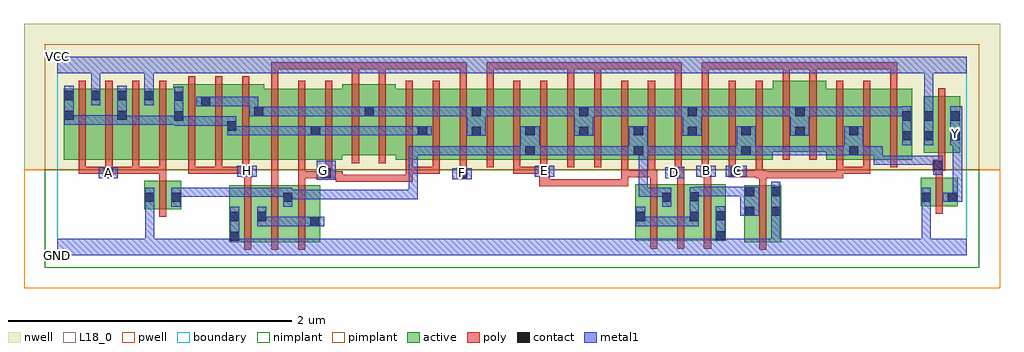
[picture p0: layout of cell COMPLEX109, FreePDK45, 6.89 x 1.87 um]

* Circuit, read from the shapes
.subckt COMPLEX109 A B C D E F G GND H VCC Y
M1 n1 A GND VSUBS nfet w=0.2u l=0.05u
M2 n2 H GND VSUBS nfet w=0.4u l=0.05u
M3 n1 F n2 VSUBS nfet w=0.4u l=0.05u
M4 n2 G n1 VSUBS nfet w=0.4u l=0.05u
M5 n1 E n3 VSUBS nfet w=0.4u l=0.05u
M6 n3 D n1 VSUBS nfet w=0.4u l=0.05u
M7 GND B n3 VSUBS nfet w=0.4u l=0.05u
M8 GND C n3 VSUBS nfet w=0.4u l=0.05u
M9 Y n1 GND VSUBS nfet w=0.2u l=0.05u
M10 VCC A n4 n5 pfet w=0.5u l=0.05u m=4
M11 n6 H n4 n5 pfet w=0.532u l=0.05u m=3
M12 n7 F n6 n5 pfet w=0.5u l=0.05u
M13 n4 G n7 n5 pfet w=0.5u l=0.05u
M14 n8 G n4 n5 pfet w=0.5u l=0.05u
M15 n6 F n8 n5 pfet w=0.5u l=0.05u
M16 n9 F n6 n5 pfet w=0.5u l=0.05u
M17 n4 G n9 n5 pfet w=0.5u l=0.05u
M18 n10 G n4 n5 pfet w=0.5u l=0.05u
M19 n6 F n10 n5 pfet w=0.5u l=0.05u
M20 n11 D n6 n5 pfet w=0.5u l=0.05u
M21 n1 E n11 n5 pfet w=0.5u l=0.05u
M22 n12 E n1 n5 pfet w=0.5u l=0.05u
M23 n6 D n12 n5 pfet w=0.5u l=0.05u
M24 n13 D n6 n5 pfet w=0.5u l=0.05u
M25 n1 E n13 n5 pfet w=0.5u l=0.05u
M26 n14 E n1 n5 pfet w=0.5u l=0.05u
M27 n6 D n14 n5 pfet w=0.5u l=0.05u
M28 n15 B n6 n5 pfet w=0.5u l=0.05u
M29 n1 C n15 n5 pfet w=0.5u l=0.05u
M30 n16 C n1 n5 pfet w=0.5u l=0.05u
M31 n6 B n16 n5 pfet w=0.5u l=0.05u
M32 n17 B n6 n5 pfet w=0.5u l=0.05u
M33 n1 C n17 n5 pfet w=0.5u l=0.05u
M34 n18 C n1 n5 pfet w=0.5u l=0.05u
M35 n6 B n18 n5 pfet w=0.5u l=0.05u
M36 Y n1 VCC n5 pfet w=0.4u l=0.05u
.ends

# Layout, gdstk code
import gdstk
lib = gdstk.Library(unit=1e-6, precision=1e-09)
def R(c, l, rs):  # rectangles x0, y0, x1, y1
    for r in rs: c.add(gdstk.rectangle(r[:2], r[2:], *l))
def A(c, l, x, y, w, h, nx, ny, dx, dy):  # array of equal rectangles
    R(c, l, [(x+i*dx, y+j*dy, x+i*dx+w, y+j*dy+h) for i in range(nx) for j in range(ny)])
active = (1, 0)
pwell = (2, 0)
nwell = (3, 0)
nimplant = (4, 0)
pimplant = (5, 0)
poly = (9, 0)
contact = (10, 0)
metal1 = (11, 0)
L18_0 = (18, 0)
boundary = (235, 0)

complex109 = lib.new_cell('COMPLEX109')
A(complex109, active, 2.39, 0.675, 0.225, 0.5, 4, 1, 0.38, 0)
A(complex109, active, 2.54, 0.675, 0.23, 0.5, 4, 1, 0.38, 0)
A(complex109, active, 3.91, 0.675, 0.23, 0.5, 3, 1, 0.38, 0)
A(complex109, active, 4.065, 0.675, 0.225, 0.5, 3, 1, 0.38, 0)
A(complex109, active, 4.065, 0.675, 0.075, 0.395, 3, 1, 0.76, 0)
R(complex109, active, [(1.215,0.092,1.29,0.492), (1.215,0.092,1.48,0.492), (1.405,0.092,1.665,0.492), (1.59,0.092,1.855,0.492), (4.85,0.092,5.11,0.492), (4.08,0.1,4.34,0.5), (4.265,0.1,4.535,0.5), (4.46,0.1,4.72,0.5), (4.645,0.1,4.72,0.5), (5.035,0.132,5.11,0.492), (1.405,0.147,1.48,0.492), (1.59,0.147,1.665,0.492), (1.78,0.147,1.855,0.492), (4.08,0.147,4.155,0.5), (4.265,0.147,4.34,0.492), (4.46,0.147,4.535,0.492), (4.85,0.147,4.925,0.492), (0.615,0.325,0.875,0.525), (0.615,0.347,0.69,0.525), (0.8,0.347,0.875,0.525), (6.097,0.347,6.172,0.547), (6.097,0.347,6.357,0.547), (6.282,0.347,6.357,0.547), (0.045,0.675,0.31,1.175), (0.045,0.675,0.12,1.167), (0.235,0.675,0.31,1.175), (0.235,0.675,0.495,1.175), (0.42,0.675,0.685,1.175), (0.42,0.675,0.495,1.167), (0.61,0.675,0.895,1.175), (0.61,0.675,0.685,1.175), (0.82,0.675,1.085,1.207), (1.01,0.675,1.27,1.207), (1.01,0.675,1.085,1.2), (1.195,0.675,1.27,1.07), (1.195,0.675,1.46,1.207), (1.385,0.675,1.63,1.175), (1.63,0.675,1.86,1.175), (1.785,0.675,2.01,1.175), (1.785,0.675,1.86,1.07), (2.54,0.675,2.615,1.07), (2.92,0.675,2.995,1.157), (3.3,0.675,3.375,1.07), (3.68,0.675,3.755,1.157), (5.43,0.675,5.66,1.175), (5.585,0.675,5.81,1.175), (5.81,0.675,6.035,1.175), (5.96,0.675,6.035,1.157), (2.01,0.705,2.24,1.205), (2.165,0.705,2.39,1.205), (2.165,0.705,2.24,1.157), (6.115,0.722,6.375,1.122), (6.115,0.722,6.19,1.122), (6.3,0.722,6.375,1.122), (5.05,0.73,5.28,1.23), (5.205,0.73,5.43,1.23), (5.205,0.73,5.28,1.157), (4.445,0.762,4.52,1.167), (1.385,0.775,1.46,1.2), (0.82,0.795,0.895,1.2)])
R(complex109, pwell, [(-0.235,-0.235,6.655,0.602)])
R(complex109, nwell, [(-0.235,0.602,6.655,1.635)])
R(complex109, nimplant, [(-0.09,-0.09,6.51,0.602)])
R(complex109, pimplant, [(-0.09,0.602,6.51,1.49)])
A(complex109, poly, 1.32, 0.037, 0.05, 0.51, 3, 1, 0.19, 0)
A(complex109, poly, 4.185, 0.045, 0.05, 0.51, 3, 1, 0.19, 0)
A(complex109, poly, 4.185, 0.505, 0.05, 0.095, 3, 1, 0.19, 0)
A(complex109, poly, 0.15, 0.575, 0.05, 0.095, 4, 1, 0.19, 0)
A(complex109, poly, 0.925, 0.575, 0.05, 0.095, 3, 1, 0.19, 0)
A(complex109, poly, 4.36, 0.575, 0.05, 0.095, 3, 1, 0.19, 0)
A(complex109, poly, 0.15, 0.62, 0.05, 0.61, 4, 1, 0.19, 0)
A(complex109, poly, 0.925, 0.62, 0.05, 0.642, 3, 1, 0.19, 0)
A(complex109, poly, 1.51, 0.62, 0.05, 0.61, 3, 1, 0.19, 0)
A(complex109, poly, 2.46, 0.62, 0.05, 0.61, 14, 1, 0.19, 0)
A(complex109, poly, 5.5, 0.62, 0.05, 0.61, 3, 1, 0.19, 0)
A(complex109, poly, 4.93, 1.312, 0.05, 0.05, 3, 1, 0.19, 0)
R(complex109, poly, [(4.955,0.037,5.005,0.547), (0.72,0.27,0.77,0.58), (6.202,0.292,6.252,0.602), (3.402,0.487,3.477,0.625), (3.427,0.487,3.585,0.537), (3.535,0.487,3.585,0.537), (3.535,0.487,3.61,0.537), (3.56,0.487,3.61,0.537), (3.56,0.487,3.717,0.537), (3.667,0.487,3.717,0.537), (3.667,0.487,3.897,0.537), (3.847,0.487,3.897,0.537), (3.847,0.487,3.897,0.537), (3.847,0.487,3.897,0.537), (3.847,0.487,4.03,0.537), (3.98,0.487,4.03,0.6), (1.32,0.497,1.37,0.6), (1.51,0.497,1.56,0.625), (1.7,0.497,1.75,0.592), (4.955,0.497,5.005,0.592), (1.965,0.517,2.187,0.567), (1.965,0.517,2.015,0.592), (2.137,0.517,2.187,0.567), (2.137,0.517,2.377,0.567), (2.327,0.517,2.377,0.567), (2.327,0.517,2.377,0.567), (2.327,0.517,2.377,0.567), (2.327,0.517,2.51,0.567), (2.46,0.517,2.51,0.567), (2.46,0.517,2.51,0.567), (2.46,0.517,2.51,0.625), (0.72,0.53,0.77,0.625), (1.7,0.542,1.75,0.592), (1.7,0.542,1.882,0.592), (1.7,0.542,1.75,0.67), (1.832,0.542,1.882,0.592), (1.832,0.542,1.91,0.592), (1.86,0.542,1.94,0.617), (1.89,0.542,2.015,0.592), (2.82,0.542,2.895,0.617), (4.93,0.542,5.005,0.6), (4.955,0.542,5.005,0.592), (4.955,0.542,5.005,0.592), (4.955,0.542,5.17,0.592), (5.12,0.542,5.17,0.592), (5.12,0.542,5.17,0.592), (5.12,0.542,5.17,0.592), (5.12,0.542,5.302,0.592), (5.252,0.542,5.302,0.592), (5.252,0.542,5.55,0.592), (5.5,0.542,5.55,0.592), (5.5,0.542,5.55,0.592), (5.5,0.542,5.55,0.625), (0.322,0.55,0.397,0.625), (1.302,0.55,1.377,0.625), (3.98,0.55,4.03,0.67), (3.98,0.55,4.212,0.6), (4.162,0.55,4.212,0.6), (4.162,0.55,4.212,0.6), (4.162,0.55,4.235,0.6), (4.17,0.55,4.22,0.67), (4.322,0.55,4.425,0.625), (4.542,0.55,4.617,0.625), (4.74,0.55,4.825,0.625), (4.775,0.55,4.825,0.6), (4.775,0.55,4.825,0.6), (4.775,0.55,4.98,0.6), (4.93,0.55,4.98,0.67), (6.202,0.552,6.252,0.647), (1.89,0.567,1.94,0.67), (2.84,0.567,2.89,0.67), (0.15,0.575,0.2,0.625), (0.15,0.575,0.2,0.625), (0.15,0.575,0.2,0.625), (0.15,0.575,0.372,0.625), (0.347,0.575,0.397,0.625), (0.347,0.575,0.397,0.625), (0.347,0.575,0.58,0.625), (0.53,0.575,0.58,0.625), (0.53,0.575,0.58,0.625), (0.53,0.575,0.58,0.625), (0.53,0.575,0.77,0.625), (0.72,0.575,0.77,0.625), (0.925,0.575,0.975,0.625), (0.925,0.575,0.975,0.625), (0.925,0.575,0.975,0.625), (0.925,0.575,1.165,0.625), (1.115,0.575,1.165,0.625), (1.115,0.575,1.165,0.625), (1.115,0.575,1.165,0.625), (1.115,0.575,1.352,0.625), (1.51,0.575,1.56,0.67), (1.51,0.575,1.56,0.625), (2.46,0.575,2.51,0.67), (2.46,0.575,2.69,0.625), (2.64,0.575,2.69,0.625), (2.64,0.575,2.69,0.625), (2.64,0.575,2.7,0.625), (2.65,0.575,2.7,0.67), (3.22,0.575,3.27,0.67), (3.22,0.575,3.27,0.625), (3.22,0.575,3.452,0.625), (3.402,0.575,3.452,0.625), (3.402,0.575,3.452,0.625), (3.41,0.575,3.46,0.67), (5.5,0.575,5.55,0.67), (5.5,0.575,5.74,0.625), (5.69,0.575,5.74,0.67), (5.69,0.575,5.74,0.625), (5.69,0.575,5.74,0.625), (5.69,0.575,5.74,0.625), (6.18,0.597,6.27,0.672), (6.22,0.622,6.27,0.717), (2.08,0.65,2.13,1.26), (2.27,0.65,2.32,1.26), (6.22,0.667,6.27,1.177), (5.12,0.675,5.17,1.285), (5.31,0.675,5.36,1.285), (1.51,1.18,1.56,1.362), (2.84,1.18,2.89,1.362), (3.03,1.18,3.08,1.362), (3.6,1.18,3.65,1.362), (3.79,1.18,3.84,1.362), (4.36,1.18,4.41,1.362), (4.55,1.18,4.6,1.362), (5.88,1.18,5.93,1.362), (2.08,1.21,2.13,1.362), (2.27,1.21,2.32,1.362), (5.12,1.235,5.17,1.362), (5.31,1.235,5.36,1.362), (1.51,1.312,1.56,1.362), (1.51,1.312,1.692,1.362), (1.642,1.312,1.692,1.362), (1.642,1.312,1.692,1.362), (1.642,1.312,1.692,1.362), (1.642,1.312,1.882,1.362), (1.832,1.312,1.882,1.362), (1.832,1.312,1.882,1.362), (1.832,1.312,1.882,1.362), (1.832,1.312,2.13,1.362), (2.08,1.312,2.13,1.362), (2.08,1.312,2.13,1.362), (2.08,1.312,2.13,1.362), (2.08,1.312,2.32,1.362), (2.27,1.312,2.32,1.362), (2.27,1.312,2.32,1.362), (2.27,1.312,2.32,1.362), (2.27,1.312,2.51,1.362), (2.46,1.312,2.51,1.362), (2.46,1.312,2.51,1.362), (2.46,1.312,2.51,1.362), (2.46,1.312,2.642,1.362), (2.592,1.312,2.642,1.362), (2.592,1.312,2.642,1.362), (2.592,1.312,2.642,1.362), (2.592,1.312,2.89,1.362), (2.84,1.312,2.89,1.362), (2.84,1.312,2.89,1.362), (2.84,1.312,2.89,1.362), (3.03,1.312,3.08,1.362), (3.03,1.312,3.212,1.362), (3.162,1.312,3.212,1.362), (3.162,1.312,3.212,1.362), (3.162,1.312,3.212,1.362), (3.162,1.312,3.402,1.362), (3.352,1.312,3.402,1.362), (3.352,1.312,3.402,1.362), (3.352,1.312,3.402,1.362), (3.352,1.312,3.585,1.362), (3.535,1.312,3.585,1.362), (3.535,1.312,3.65,1.362), (3.6,1.312,3.65,1.362), (3.6,1.312,3.765,1.362), (3.715,1.312,3.765,1.362), (3.715,1.312,3.84,1.362), (3.79,1.312,3.84,1.362), (3.79,1.312,4.08,1.362), (4.03,1.312,4.08,1.362), (4.03,1.312,4.08,1.362), (4.03,1.312,4.08,1.362), (4.03,1.312,4.24,1.362), (4.19,1.312,4.24,1.362), (4.19,1.312,4.24,1.362), (4.19,1.312,4.24,1.362), (4.19,1.312,4.41,1.362), (4.36,1.312,4.41,1.362), (4.36,1.312,4.41,1.362), (4.36,1.312,4.41,1.362), (4.55,1.312,4.6,1.362), (4.55,1.312,4.6,1.362), (4.55,1.312,4.6,1.362), (4.55,1.312,4.847,1.362), (4.797,1.312,4.847,1.362), (4.797,1.312,4.847,1.362), (4.797,1.312,4.847,1.362), (4.797,1.312,4.98,1.362), (4.93,1.312,4.98,1.362), (4.93,1.312,4.98,1.362), (4.93,1.312,5.17,1.362), (5.12,1.312,5.36,1.362), (5.31,1.312,5.36,1.362), (5.31,1.312,5.36,1.362), (5.31,1.312,5.492,1.362), (5.442,1.312,5.492,1.362), (5.442,1.312,5.492,1.362), (5.442,1.312,5.492,1.362), (5.442,1.312,5.797,1.362), (5.747,1.312,5.797,1.362), (5.747,1.312,5.797,1.362), (5.747,1.312,5.797,1.362), (5.747,1.312,5.93,1.362), (5.88,1.312,5.93,1.362), (5.88,1.312,5.93,1.362), (5.88,1.312,5.93,1.362)])
A(complex109, contact, 4.07, 0.705, 0.065, 0.065, 3, 2, 0.76, 0.14)
R(complex109, contact, [(1.22,0.1,1.285,0.165), (4.65,0.105,4.715,0.17), (1.785,0.205,1.85,0.27), (1.22,0.24,1.285,0.305), (1.41,0.24,1.475,0.305), (4.085,0.24,4.15,0.305), (4.465,0.24,4.53,0.305), (4.65,0.245,4.715,0.31), (4.855,0.277,4.92,0.342), (5.04,0.277,5.105,0.342), (0.62,0.377,0.685,0.442), (0.805,0.377,0.87,0.442), (1.595,0.377,1.66,0.442), (4.27,0.377,4.335,0.442), (6.102,0.377,6.167,0.442), (6.287,0.377,6.352,0.442), (4.465,0.38,4.53,0.445), (4.855,0.417,4.92,0.482), (5.04,0.417,5.105,0.482), (1.865,0.547,1.93,0.612), (2.825,0.547,2.89,0.612), (0.327,0.555,0.392,0.62), (1.307,0.555,1.372,0.62), (3.407,0.555,3.472,0.62), (4.327,0.555,4.392,0.62), (4.547,0.555,4.612,0.62), (4.755,0.555,4.82,0.62), (6.185,0.602,6.25,0.667), (3.305,0.705,3.37,0.77), (5.965,0.81,6.03,0.875), (6.12,0.81,6.185,0.875), (6.305,0.81,6.37,0.875), (2.925,0.842,2.99,0.907), (3.685,0.842,3.75,0.907), (4.45,0.842,4.515,0.907), (5.21,0.842,5.275,0.907), (1.79,0.845,1.855,0.91), (2.545,0.845,2.61,0.91), (3.305,0.845,3.37,0.91), (1.2,0.88,1.265,0.945), (0.825,0.95,0.89,1.015), (5.965,0.95,6.03,1.015), (6.12,0.95,6.185,1.015), (6.305,0.95,6.37,1.015), (0.05,0.955,0.115,1.02), (0.425,0.955,0.49,1.02), (1.39,0.982,1.455,1.047), (2.17,0.982,2.235,1.047), (2.925,0.982,2.99,1.047), (3.685,0.982,3.75,1.047), (4.45,0.982,4.515,1.047), (5.21,0.982,5.275,1.047), (1.015,1.052,1.08,1.117), (0.825,1.09,0.89,1.155), (0.615,1.092,0.68,1.157), (0.05,1.095,0.115,1.16), (0.24,1.095,0.305,1.16), (0.425,1.095,0.49,1.16)])
A(complex109, metal1, 4.035, 0.705, 0.135, 0.205, 3, 1, 0.76, 0)
R(complex109, metal1, [(0,0,6.42,0.115), (0.62,0.05,0.685,0.115), (0.62,0.05,0.685,0.115), (0.62,0.05,0.685,0.115), (0.62,0.05,0.685,0.115), (0.62,0.05,0.685,0.407), (1.22,0.05,1.285,0.13), (4.65,0.05,4.715,0.135), (5.04,0.05,5.105,0.307), (6.102,0.05,6.167,0.115), (6.102,0.05,6.167,0.115), (6.102,0.05,6.167,0.115), (6.102,0.05,6.167,0.115), (6.102,0.05,6.167,0.407), (1.22,0.065,1.285,0.34), (4.65,0.07,4.715,0.345), (1.41,0.205,1.475,0.34), (1.41,0.205,1.615,0.27), (1.55,0.205,1.615,0.27), (1.55,0.205,1.66,0.27), (1.595,0.205,1.66,0.27), (1.595,0.205,1.752,0.27), (1.687,0.205,1.752,0.27), (1.687,0.205,1.815,0.27), (1.75,0.205,1.885,0.27), (4.085,0.205,4.15,0.27), (4.085,0.205,4.15,0.27), (4.085,0.205,4.15,0.34), (4.085,0.205,4.342,0.27), (4.277,0.205,4.342,0.27), (4.277,0.205,4.342,0.27), (4.277,0.205,4.342,0.27), (4.277,0.205,4.53,0.27), (4.465,0.205,4.53,0.48), (5.04,0.242,5.105,0.517), (4.82,0.277,4.955,0.482), (0.62,0.342,0.685,0.477), (0.805,0.342,0.87,0.477), (1.595,0.342,1.66,0.477), (4.27,0.342,4.335,0.477), (6.102,0.342,6.167,0.477), (6.252,0.377,6.387,0.442), (6.322,0.377,6.387,0.84), (6.322,0.377,6.387,0.442), (6.322,0.377,6.387,0.442), (6.322,0.377,6.387,0.442), (6.322,0.377,6.387,0.442), (1.595,0.395,1.752,0.46), (1.687,0.395,1.752,0.46), (1.687,0.395,1.89,0.46), (1.825,0.395,1.89,0.46), (1.825,0.395,1.89,0.46), (1.825,0.395,1.89,0.46), (1.825,0.395,2.062,0.46), (1.997,0.395,2.062,0.46), (1.997,0.395,2.062,0.46), (1.997,0.395,2.062,0.46), (1.997,0.395,2.2,0.46), (2.135,0.395,2.2,0.46), (2.135,0.395,2.2,0.46), (2.135,0.395,2.2,0.46), (2.135,0.395,2.407,0.46), (2.342,0.395,2.407,0.46), (2.342,0.395,2.407,0.46), (2.342,0.395,2.407,0.46), (2.342,0.395,2.545,0.46), (2.48,0.395,2.545,0.46), (2.48,0.395,2.545,0.77), (0.805,0.412,0.87,0.477), (0.805,0.412,0.87,0.477), (0.805,0.412,1.027,0.477), (0.962,0.412,1.027,0.477), (0.962,0.412,1.027,0.477), (0.962,0.412,1.027,0.477), (0.962,0.412,1.282,0.477), (1.217,0.412,1.282,0.477), (1.217,0.412,1.477,0.477), (1.412,0.412,1.477,0.477), (1.412,0.412,1.477,0.477), (1.412,0.412,1.477,0.477), (1.412,0.412,1.615,0.477), (1.55,0.412,1.615,0.477), (1.55,0.412,1.66,0.477), (4.105,0.412,4.17,0.477), (4.105,0.412,4.17,0.477), (4.105,0.412,4.17,0.477), (4.105,0.412,4.17,0.477), (4.105,0.412,4.17,0.477), (4.105,0.412,4.335,0.477), (4.105,0.412,4.17,0.77), (4.465,0.415,4.565,0.48), (4.5,0.415,4.565,0.482), (4.5,0.417,4.702,0.482), (4.637,0.417,4.702,0.482), (4.637,0.417,4.702,0.482), (4.637,0.417,4.702,0.482), (4.637,0.417,4.885,0.482), (1.83,0.532,1.965,0.667), (2.787,0.537,2.927,0.612), (0.292,0.542,0.427,0.62), (4.292,0.542,4.427,0.62), (1.272,0.555,1.407,0.632), (3.372,0.555,3.507,0.632), (4.512,0.555,4.647,0.632), (4.72,0.555,4.867,0.632), (6.185,0.567,6.25,0.702), (5.762,0.637,5.827,0.702), (5.762,0.637,5.827,0.702), (5.762,0.637,6.03,0.702), (5.762,0.637,5.827,0.77), (5.965,0.637,6.03,0.702), (5.965,0.637,6.03,0.702), (5.965,0.637,6.03,0.702), (5.965,0.637,6.03,0.702), (5.965,0.637,6.03,0.702), (5.965,0.637,6.18,0.702), (6.115,0.637,6.18,0.702), (6.115,0.637,6.25,0.702), (2.48,0.705,2.545,0.77), (2.48,0.705,2.545,0.77), (2.48,0.705,2.545,0.77), (2.48,0.705,2.715,0.77), (2.65,0.705,2.715,0.77), (2.65,0.705,2.715,0.77), (2.65,0.705,2.715,0.77), (2.65,0.705,2.715,0.77), (2.65,0.705,2.715,0.77), (2.65,0.705,2.852,0.77), (2.787,0.705,2.852,0.77), (2.787,0.705,2.852,0.77), (2.787,0.705,2.852,0.77), (2.787,0.705,3.162,0.77), (3.097,0.705,3.162,0.77), (3.097,0.705,3.162,0.77), (3.097,0.705,3.162,0.77), (3.097,0.705,3.335,0.77), (3.27,0.705,3.405,0.91), (3.34,0.705,3.405,0.77), (3.34,0.705,3.405,0.77), (3.34,0.705,3.55,0.77), (3.485,0.705,3.55,0.77), (3.485,0.705,3.687,0.77), (3.622,0.705,3.687,0.77), (3.622,0.705,3.687,0.77), (3.622,0.705,3.687,0.77), (3.622,0.705,3.825,0.77), (3.76,0.705,3.825,0.77), (3.76,0.705,3.962,0.77), (3.897,0.705,3.962,0.77), (3.897,0.705,3.962,0.77), (3.897,0.705,3.962,0.77), (3.897,0.705,4.1,0.77), (4.105,0.705,4.17,0.77), (4.105,0.705,4.17,0.77), (4.105,0.705,4.342,0.77), (4.277,0.705,4.342,0.77), (4.277,0.705,4.342,0.77), (4.277,0.705,4.342,0.77), (4.277,0.705,4.565,0.77), (4.5,0.705,4.565,0.77), (4.5,0.705,4.565,0.77), (4.5,0.705,4.565,0.77), (4.5,0.705,4.702,0.77), (4.637,0.705,4.702,0.77), (4.637,0.705,4.702,0.77), (4.637,0.705,4.702,0.77), (4.637,0.705,4.86,0.77), (4.865,0.705,4.93,0.77), (4.865,0.705,4.93,0.77), (4.865,0.705,5.102,0.77), (5.037,0.705,5.102,0.77), (5.037,0.705,5.31,0.77), (5.245,0.705,5.31,0.77), (5.245,0.705,5.31,0.77), (5.245,0.705,5.31,0.77), (5.245,0.705,5.447,0.77), (5.382,0.705,5.447,0.77), (5.382,0.705,5.447,0.77), (5.382,0.705,5.447,0.77), (5.382,0.705,5.62,0.77), (5.555,0.705,5.62,0.77), (5.555,0.705,5.62,0.77), (5.625,0.705,5.827,0.77), (5.965,0.775,6.03,1.05), (6.12,0.775,6.185,1.05), (6.305,0.775,6.387,1.05), (2.89,0.842,3.025,1.047), (3.65,0.842,3.785,1.047), (4.415,0.842,4.55,1.047), (5.175,0.842,5.31,1.047), (1.2,0.845,1.265,0.91), (1.2,0.845,1.265,0.91), (1.2,0.845,1.265,0.98), (1.2,0.845,1.522,0.91), (1.457,0.845,1.522,0.91), (1.457,0.845,1.615,0.91), (1.55,0.845,1.615,0.91), (1.55,0.845,1.677,0.91), (1.612,0.845,1.677,0.91), (1.612,0.845,1.752,0.91), (1.687,0.845,1.752,0.91), (1.687,0.845,1.82,0.91), (1.755,0.845,1.89,0.91), (1.825,0.845,1.89,0.91), (1.825,0.845,1.89,0.91), (1.825,0.845,1.89,0.91), (1.825,0.845,1.89,0.91), (1.825,0.845,2.062,0.91), (1.997,0.845,2.062,0.91), (1.997,0.845,2.062,0.91), (1.997,0.845,2.062,0.91), (1.997,0.845,2.2,0.91), (2.135,0.845,2.2,0.91), (2.135,0.845,2.2,0.91), (2.135,0.845,2.2,0.91), (2.135,0.845,2.407,0.91), (2.342,0.845,2.407,0.91), (2.342,0.845,2.407,0.91), (2.342,0.845,2.407,0.91), (2.342,0.845,2.575,0.91), (2.51,0.845,2.645,0.91), (0.825,0.915,0.89,0.98), (0.825,0.915,0.89,0.98), (0.825,0.915,0.89,1.19), (0.825,0.915,1.115,0.98), (1.05,0.915,1.115,0.98), (1.05,0.915,1.115,0.98), (1.05,0.915,1.115,0.98), (1.05,0.915,1.265,0.98), (0.05,0.92,0.115,1.195), (0.425,0.92,0.49,0.985), (0.425,0.92,0.49,0.985), (0.425,0.92,0.49,1.195), (0.425,0.92,0.732,0.985), (0.667,0.92,0.732,0.985), (0.667,0.92,0.732,0.985), (0.667,0.92,0.732,0.985), (0.667,0.92,0.89,0.985), (0.05,0.922,0.115,0.987), (0.05,0.922,0.115,0.987), (0.05,0.922,0.35,0.987), (0.285,0.922,0.35,0.987), (0.285,0.922,0.35,0.987), (0.285,0.922,0.35,0.987), (0.285,0.922,0.49,0.987), (1.355,0.982,1.42,1.047), (1.355,0.982,1.49,1.047), (1.355,0.982,1.42,1.117), (1.425,0.982,1.615,1.047), (1.55,0.982,1.615,1.047), (1.55,0.982,1.677,1.047), (1.612,0.982,1.677,1.047), (1.612,0.982,1.752,1.047), (1.687,0.982,1.752,1.047), (1.687,0.982,1.89,1.047), (1.825,0.982,1.89,1.047), (1.825,0.982,1.89,1.047), (1.825,0.982,1.89,1.047), (1.825,0.982,2.027,1.047), (1.962,0.982,2.027,1.047), (1.962,0.982,2.027,1.047), (1.962,0.982,2.027,1.047), (1.962,0.982,2.2,1.047), (2.135,0.982,2.27,1.047), (2.205,0.982,2.27,1.047), (2.205,0.982,2.27,1.047), (2.205,0.982,2.407,1.047), (2.342,0.982,2.407,1.047), (2.342,0.982,2.407,1.047), (2.342,0.982,2.407,1.047), (2.342,0.982,2.545,1.047), (2.48,0.982,2.545,1.047), (2.48,0.982,2.545,1.047), (2.48,0.982,2.545,1.047), (2.48,0.982,2.682,1.047), (2.617,0.982,2.682,1.047), (2.617,0.982,2.682,1.047), (2.617,0.982,2.682,1.047), (2.617,0.982,2.955,1.047), (2.96,0.982,3.025,1.047), (2.96,0.982,3.025,1.047), (2.96,0.982,3.162,1.047), (3.097,0.982,3.162,1.047), (3.097,0.982,3.162,1.047), (3.097,0.982,3.162,1.047), (3.097,0.982,3.3,1.047), (3.235,0.982,3.3,1.047), (3.235,0.982,3.3,1.047), (3.235,0.982,3.3,1.047), (3.235,0.982,3.542,1.047), (3.477,0.982,3.542,1.047), (3.477,0.982,3.687,1.047), (3.622,0.982,3.687,1.047), (3.622,0.982,3.715,1.047), (3.72,0.982,3.825,1.047), (3.76,0.982,3.825,1.047), (3.76,0.982,3.962,1.047), (3.897,0.982,3.962,1.047), (3.897,0.982,3.962,1.047), (3.897,0.982,3.962,1.047), (3.897,0.982,4.1,1.047), (4.035,0.982,4.1,1.047), (4.035,0.982,4.1,1.047), (4.035,0.982,4.1,1.047), (4.035,0.982,4.342,1.047), (4.277,0.982,4.342,1.047), (4.277,0.982,4.342,1.047), (4.277,0.982,4.342,1.047), (4.277,0.982,4.48,1.047), (4.485,0.982,4.55,1.047), (4.485,0.982,4.55,1.047), (4.485,0.982,4.702,1.047), (4.637,0.982,4.702,1.047), (4.637,0.982,4.702,1.047), (4.637,0.982,4.702,1.047), (4.637,0.982,4.84,1.047), (4.775,0.982,4.84,1.047), (4.775,0.982,5.067,1.047), (5.002,0.982,5.067,1.047), (5.002,0.982,5.067,1.047), (5.002,0.982,5.067,1.047), (5.002,0.982,5.24,1.047), (5.175,0.982,5.24,1.047), (5.175,0.982,5.24,1.047), (5.245,0.982,5.482,1.047), (5.417,0.982,5.482,1.047), (5.417,0.982,5.482,1.047), (5.417,0.982,5.482,1.047), (5.417,0.982,5.69,1.047), (5.625,0.982,5.69,1.047), (5.625,0.982,5.69,1.047), (5.625,0.982,5.69,1.047), (5.625,0.982,5.827,1.047), (5.762,0.982,5.827,1.047), (5.762,0.982,5.827,1.047), (5.762,0.982,5.827,1.047), (5.762,0.982,6.03,1.047), (5.965,0.982,6.03,1.047), (5.965,0.982,6.03,1.047), (6.12,0.985,6.185,1.05), (6.12,0.985,6.185,1.05), (6.12,0.985,6.185,1.35), (0.98,1.052,1.115,1.117), (1.05,1.052,1.115,1.117), (1.05,1.052,1.115,1.117), (1.05,1.052,1.252,1.117), (1.187,1.052,1.252,1.117), (1.187,1.052,1.42,1.117), (0.615,1.057,0.68,1.192), (0.24,1.06,0.305,1.195), (0.615,1.127,0.68,1.192), (0.615,1.127,0.68,1.192), (0.615,1.127,0.68,1.35), (0.24,1.13,0.305,1.35), (0,1.285,6.42,1.4), (0.24,1.285,0.305,1.35), (0.24,1.285,0.305,1.35)])
R(complex109, L18_0, [(0,0,6.42,0.115), (0.62,0.05,0.685,0.115), (0.62,0.05,0.685,0.115), (0.62,0.05,0.685,0.115), (0.62,0.05,0.685,0.115), (0.62,0.05,0.685,0.407), (1.22,0.05,1.285,0.13), (4.65,0.05,4.715,0.135), (5.04,0.05,5.105,0.307), (6.102,0.05,6.167,0.115), (6.102,0.05,6.167,0.115), (6.102,0.05,6.167,0.115), (6.102,0.05,6.167,0.115), (6.102,0.05,6.167,0.407), (1.22,0.065,1.285,0.34), (4.65,0.07,4.715,0.345), (5.04,0.242,5.105,0.517), (0.62,0.342,0.685,0.477), (6.102,0.342,6.167,0.477), (6.252,0.377,6.387,0.442), (6.322,0.377,6.387,0.442), (6.322,0.377,6.387,0.442), (6.322,0.377,6.387,0.442), (6.322,0.377,6.387,0.442), (6.322,0.377,6.387,0.84), (1.83,0.532,1.965,0.667), (2.787,0.537,2.927,0.612), (0.292,0.542,0.427,0.62), (4.292,0.542,4.427,0.62), (0.327,0.547,0.392,0.612), (2.827,0.547,2.892,0.612), (4.327,0.547,4.392,0.612), (1.272,0.555,1.407,0.632), (3.372,0.555,3.507,0.632), (4.512,0.555,4.647,0.632), (4.72,0.555,4.867,0.632), (1.307,0.567,1.372,0.632), (1.847,0.567,1.912,0.632), (3.407,0.567,3.472,0.632), (4.547,0.567,4.612,0.632), (4.767,0.567,4.832,0.632), (6.12,0.775,6.185,1.05), (6.305,0.775,6.387,1.05), (6.307,0.827,6.372,0.892), (6.12,0.985,6.185,1.05), (6.12,0.985,6.185,1.05), (6.12,0.985,6.185,1.35), (0.615,1.057,0.68,1.192), (0.24,1.06,0.305,1.195), (0.615,1.127,0.68,1.192), (0.615,1.127,0.68,1.192), (0.615,1.127,0.68,1.35), (0.24,1.13,0.305,1.35), (0,1.285,6.42,1.4), (0.24,1.285,0.305,1.35), (0.24,1.285,0.305,1.35)])
R(complex109, boundary, [(0,0,6.42,1.4)])
complex109.add(gdstk.Label('A', (0.36,0.58), layer=11, texttype=0))
complex109.add(gdstk.Label('B', (4.58,0.6), layer=11, texttype=0))
complex109.add(gdstk.Label('C', (4.8,0.6), layer=11, texttype=0))
complex109.add(gdstk.Label('D', (4.36,0.58), layer=11, texttype=0))
complex109.add(gdstk.Label('E', (3.44,0.6), layer=11, texttype=0))
complex109.add(gdstk.Label('F', (2.86,0.58), layer=11, texttype=0))
complex109.add(gdstk.Label('G', (1.88,0.6), layer=11, texttype=0))
complex109.add(gdstk.Label('H', (1.34,0.6), layer=11, texttype=0))
complex109.add(gdstk.Label('Y', (6.34,0.86), layer=11, texttype=0))
complex109.add(gdstk.Label('VCC', (0,1.4), layer=11, texttype=0))
complex109.add(gdstk.Label('GND', (0,0), layer=11, texttype=0))

lib.write_gds('COMPLEX109.gds')
